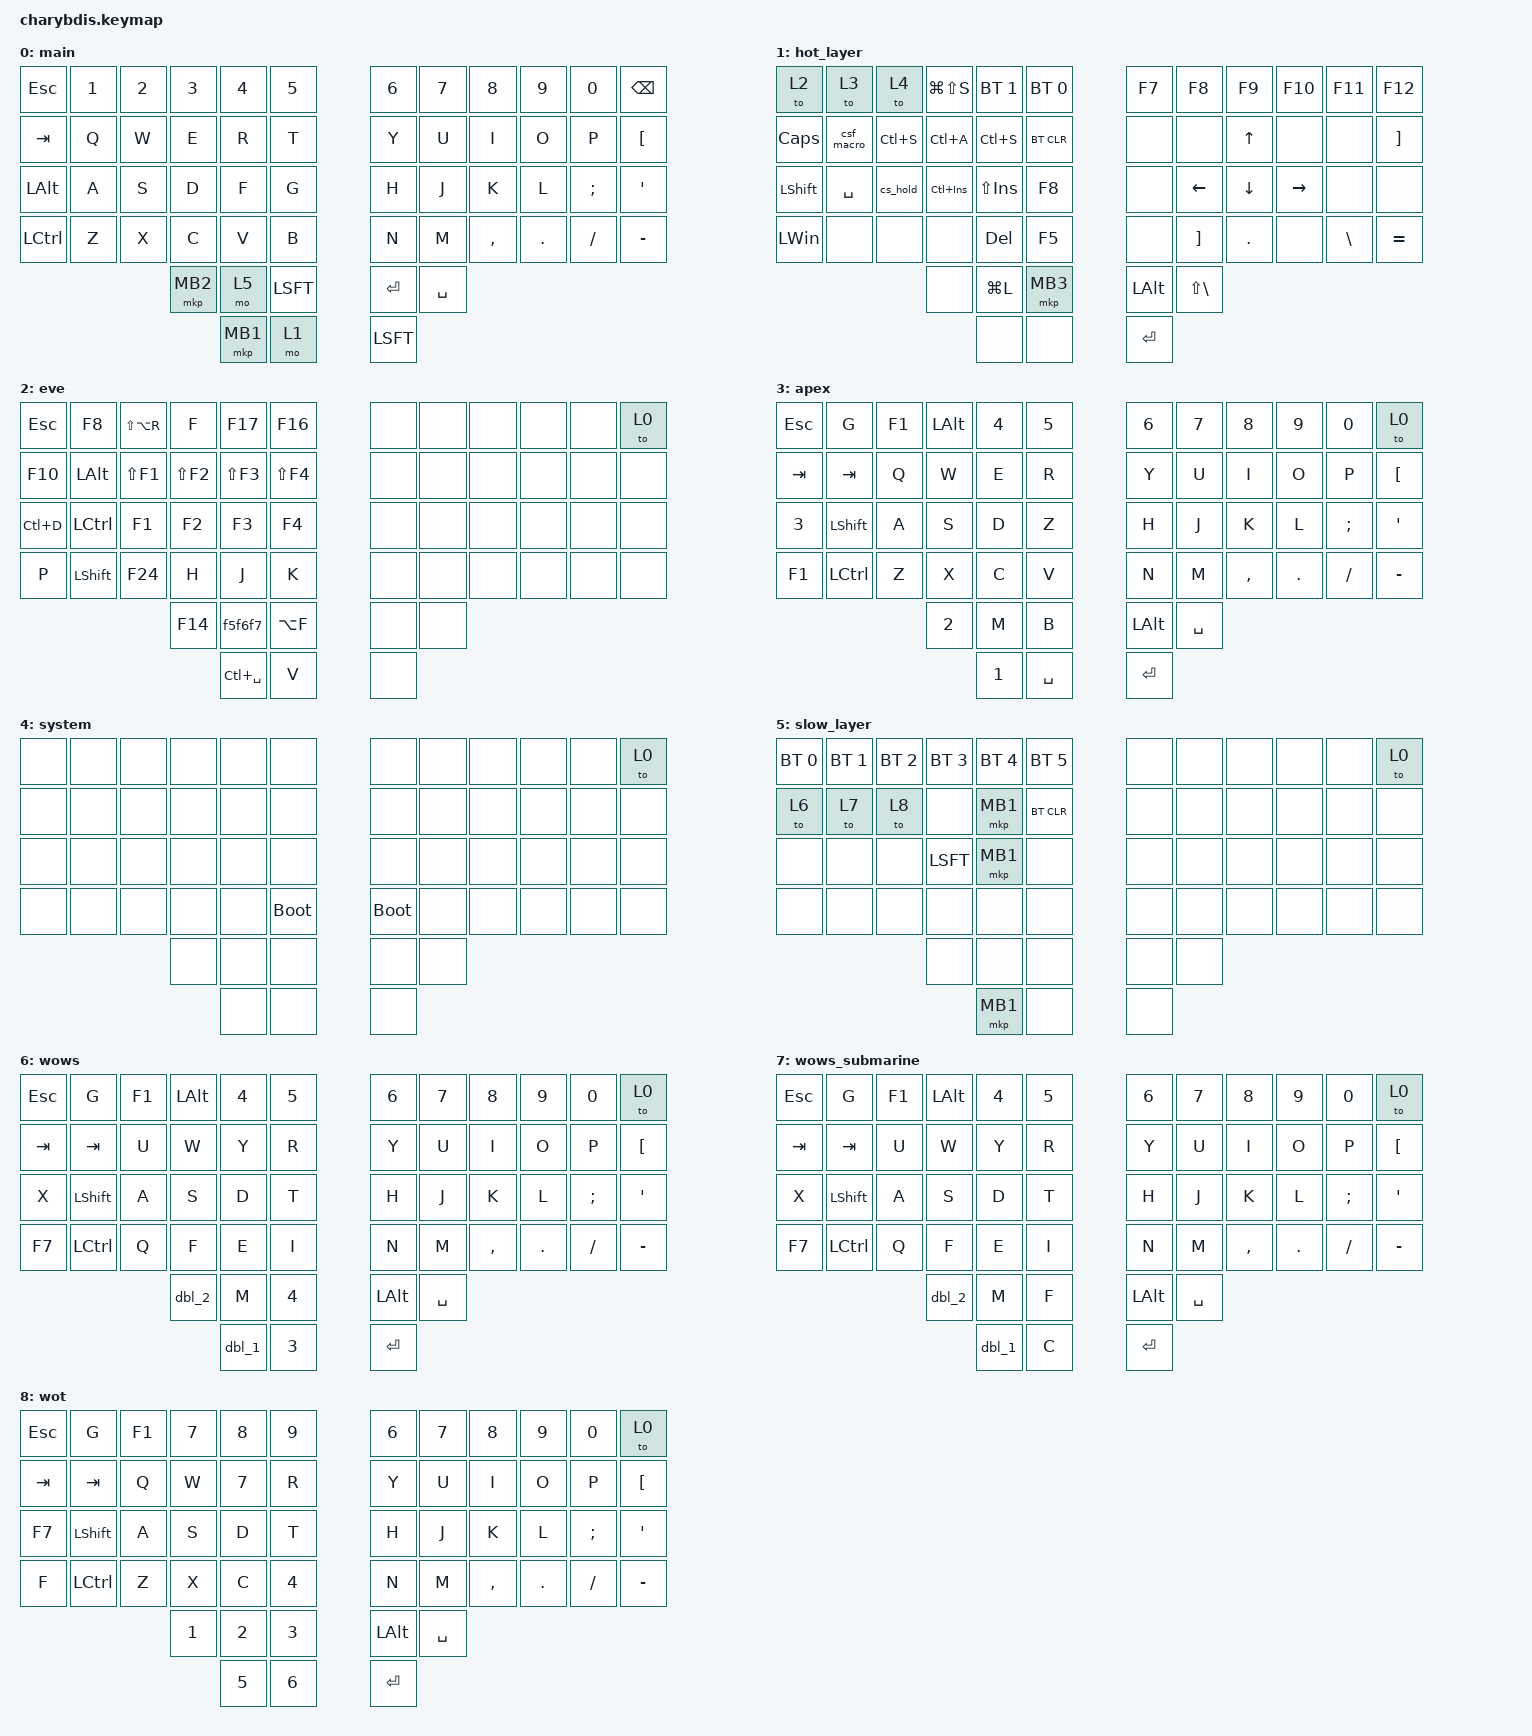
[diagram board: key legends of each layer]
#include <behaviors.dtsi>
#include <dt-bindings/zmk/bt.h>
#include <dt-bindings/zmk/keys.h>
#include <dt-bindings/zmk/outputs.h>
#include <dt-bindings/zmk/pointing.h>


&lt {
    tapping-term-ms = <200>;
    flavor = "balanced";
    quick-tap-ms = <150>;
};

/ {
    behaviors {
        f5f6f7: macro_f5f6f7 {
            compatible = "zmk,behavior-macro";
            #binding-cells = <0>;
            bindings = <&kp F5 &kp F6 &kp F7>;
        };

        vb_macro: macro_vb {
            compatible = "zmk,behavior-macro";
            #binding-cells = <0>;
            bindings = <&kp V &kp B>;
        };


        cs_hold: cs_hold {
            compatible = "zmk,behavior-macro";
            #binding-cells = <0>;            
            wait-ms = <30>;
            tap-ms  = <30>;            
            bindings =
                <&macro_press   &kp LCTRL>,
                <&macro_wait_time 20>,
                <&macro_press   &kp LSHIFT>,
                <&macro_wait_time 30>,
                <&macro_release &kp LCTRL>,
                <&macro_wait_time 20>,
                <&macro_release &kp LSHIFT>;
        };


        csf_macro: csf_macro {
        compatible = "zmk,behavior-macro";
            #binding-cells = <0>;
            // Небольшие паузы помогают по RDP/BLE
            wait-ms = <35>;
            tap-ms  = <35>;
            bindings =
                <&macro_press   &kp LEFT_SHIFT>,
                <&macro_press   &kp LALT>,
                <&macro_tap     &kp F>,
                <&macro_release &kp LALT>,
                <&macro_release &kp LEFT_SHIFT>;
        };

    };

    macros {

        dbl_1: dbl_1 {
            compatible = "zmk,behavior-macro";
            #binding-cells = <0>;
            wait-ms = <40>;
            tap-ms  = <40>;
            bindings = <&kp N1 &kp N1>;  
        };

        dbl_2: dbl_2 {
            compatible = "zmk,behavior-macro";
            #binding-cells = <0>;
            wait-ms = <40>;
            tap-ms  = <40>;
            bindings = <&kp N2 &kp N2>; 
        };

        dbl_3: dbl_3 {
            compatible = "zmk,behavior-macro";
            #binding-cells = <0>;
            wait-ms = <40>;
            tap-ms  = <40>;
            bindings = <&kp N3 &kp N3>; 
        };
    };

    keymap {
        compatible = "zmk,keymap";

                main {
                    bindings = <
        &kp ESC         &kp N1  &kp N2  &kp N3           &kp N4        &kp N5          &kp N6          &kp N7     &kp N8     &kp N9            &kp N0    &kp BACKSPACE
        &kp TAB         &kp Q   &kp W   &kp E            &kp R         &kp T           &kp Y           &kp U      &kp I      &kp O             &kp P     &kp LEFT_BRACKET
        &kp LALT        &kp A   &kp S   &kp D            &kp F         &kp G           &kp H           &kp J      &kp K      &kp L             &kp SEMI  &kp SQT
        &kp LCTRL       &kp Z   &kp X   &kp C            &kp V         &kp B           &kp N           &kp M      &kp COMMA  &kp PERIOD        &kp FSLH  &kp MINUS
                                        &mkp MB2         &mo 5         &kp LSFT        &kp ENTER       &kp SPACE
                                                        &mkp MB1      &mo 1           &kp LSFT
                    >;
                };

                hot_layer {
                    bindings = <
        &to 2           &to 3        &to 4           &kp LG(LS(S))  &bt BT_SEL 1       &bt BT_SEL 0     &kp F7        &kp F8              &kp F9      &kp F10            &kp F11     &kp F12
        &kp CAPS        &csf_macro   &kp LC(S)       &kp LC(A)      &kp LC(S)          &bt BT_CLR       &none         &none               &kp UP      &none              &none       &kp RIGHT_BRACKET
        &kp LEFT_SHIFT  &kp SPACE    &cs_hold        &kp LC(INS)    &kp LS(INS)        &kp F8           &none         &kp LEFT            &kp DOWN    &kp RIGHT          &none       &none
        &kp LEFT_WIN    &none        &none           &none          &kp DELETE         &kp F5           &none         &kp RIGHT_BRACKET   &kp PERIOD  &none              &kp BSLH    &kp EQUAL
                                                                    &none              &kp LG(L)        &mkp MB3      &kp LALT            &kp LS(BSLH)
                                                                                       &none            &none         &kp ENTER
                    >;
                };

                eve {
                    bindings = <
        &kp ESC         &kp F8             &kp LS(LA(R))    &kp F          &kp F17        &kp F16          &none     &none     &none     &none     &none  &to 0
        &kp F10         &kp LALT           &kp LS(F1)       &kp LS(F2)     &kp LS(F3)     &kp LS(F4)       &none     &none     &none     &none     &none  &none
        &kp LC(D)       &kp LCTRL          &kp F1           &kp F2         &kp F3         &kp F4           &none     &none     &none     &none     &none  &none
        &kp P           &kp LEFT_SHIFT     &kp F24          &kp H          &kp J          &kp K            &none     &none     &none     &none     &none  &none
                                                            &kp F14        &f5f6f7        &kp LA(F)        &none     &none
                                                                        &kp LC(SPACE)  &kp V            &none
                    >;
                };

                apex {
                    bindings = <
        &kp ESC         &kp G           &kp F1  &kp LALT      &kp N4     &kp N5          &kp N6     &kp N7     &kp N8     &kp N9            &kp N0    &to 0
        &kp TAB         &kp TAB         &kp Q   &kp W         &kp E      &kp R           &kp Y      &kp U      &kp I      &kp O             &kp P     &kp LEFT_BRACKET
        &kp N3          &kp LEFT_SHIFT  &kp A   &kp S         &kp D      &kp Z           &kp H      &kp J      &kp K      &kp L             &kp SEMI  &kp SQT
        &kp F1          &kp LCTRL       &kp Z   &kp X         &kp C      &kp V           &kp N      &kp M      &kp COMMA  &kp PERIOD        &kp FSLH  &kp MINUS
                                        &kp N2  &kp M         &kp B                      &kp LALT   &kp SPACE
                                                &kp N1        &kp SPACE                  &kp ENTER
                    >;
                };

                system {
                    bindings = <
        &none         &none          &none       &none         &none         &none           &none          &none     &none     &none     &none  &to 0
        &none         &none          &none       &none         &none         &none           &none          &none     &none     &none     &none  &none
        &none         &none          &none       &none         &none         &none           &none          &none     &none     &none     &none  &none
        &none         &none          &none       &none         &none         &bootloader     &bootloader    &none     &none     &none     &none  &none
                                                &none         &none         &none           &none          &none
                                                            &none         &none           &none
                    >;
                };

                slow_layer {
                    bindings = <
        &bt BT_SEL 0  &bt BT_SEL 1   &bt BT_SEL 2  &bt BT_SEL 3  &bt BT_SEL 4  &bt BT_SEL 5    &none          &none     &none     &none     &none  &to 0
        &to 6         &to 7          &to 8         &none         &mkp MB1      &bt BT_CLR      &none          &none     &none     &none     &none  &none
        &none         &none          &none         &kp LSFT      &mkp MB1      &none           &none          &none     &none     &none     &none  &none
        &none         &none          &none         &none         &none         &none           &none          &none     &none     &none     &none  &none
                                                &none         &none         &none           &none          &none
                                                                &mkp MB1      &none           &none
                    >;
                };

                wows {
                    bindings = <
        &kp ESC         &kp G           &kp F1  &kp LALT      &kp N4     &kp N5          &kp N6     &kp N7     &kp N8     &kp N9            &kp N0    &to 0
        &kp TAB         &kp TAB         &kp U   &kp W         &kp Y      &kp R           &kp Y      &kp U      &kp I      &kp O             &kp P     &kp LEFT_BRACKET
        &kp X           &kp LEFT_SHIFT  &kp A   &kp S         &kp D      &kp T           &kp H      &kp J      &kp K      &kp L             &kp SEMI  &kp SQT
        &kp F7          &kp LCTRL       &kp Q   &kp F         &kp E      &kp I           &kp N      &kp M      &kp COMMA  &kp PERIOD        &kp FSLH  &kp MINUS
                                                &dbl_2        &kp M      &kp N4          &kp LALT   &kp SPACE
                                                            &dbl_1     &kp N3          &kp ENTER
                    >;
                };

                wows_submarine {
                    bindings = <
        &kp ESC         &kp G           &kp F1  &kp LALT      &kp N4     &kp N5          &kp N6     &kp N7     &kp N8     &kp N9            &kp N0    &to 0
        &kp TAB         &kp TAB         &kp U   &kp W         &kp Y      &kp R           &kp Y      &kp U      &kp I      &kp O             &kp P     &kp LEFT_BRACKET
        &kp X           &kp LEFT_SHIFT  &kp A   &kp S         &kp D      &kp T           &kp H      &kp J      &kp K      &kp L             &kp SEMI  &kp SQT
        &kp F7          &kp LCTRL       &kp Q   &kp F         &kp E      &kp I           &kp N      &kp M      &kp COMMA  &kp PERIOD        &kp FSLH  &kp MINUS
                                                &dbl_2        &kp M      &kp F          &kp LALT   &kp SPACE
                                                            &dbl_1     &kp C          &kp ENTER
                    >;
                };
                
                wot {
                    bindings = <
        &kp ESC         &kp G           &kp F1  &kp N7        &kp N8     &kp N9          &kp N6     &kp N7     &kp N8     &kp N9            &kp N0    &to 0
        &kp TAB         &kp TAB         &kp Q   &kp W         &kp N7     &kp R           &kp Y      &kp U      &kp I      &kp O             &kp P     &kp LEFT_BRACKET
        &kp F7          &kp LEFT_SHIFT  &kp A   &kp S         &kp D      &kp T           &kp H      &kp J      &kp K      &kp L             &kp SEMI  &kp SQT
        &kp F           &kp LCTRL       &kp Z   &kp X         &kp C      &kp N4          &kp N      &kp M      &kp COMMA  &kp PERIOD        &kp FSLH  &kp MINUS
                                                &kp N1        &kp N2     &kp N3          &kp LALT   &kp SPACE
                                                              &kp N5     &kp N6          &kp ENTER
            >;
        };


    };
};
